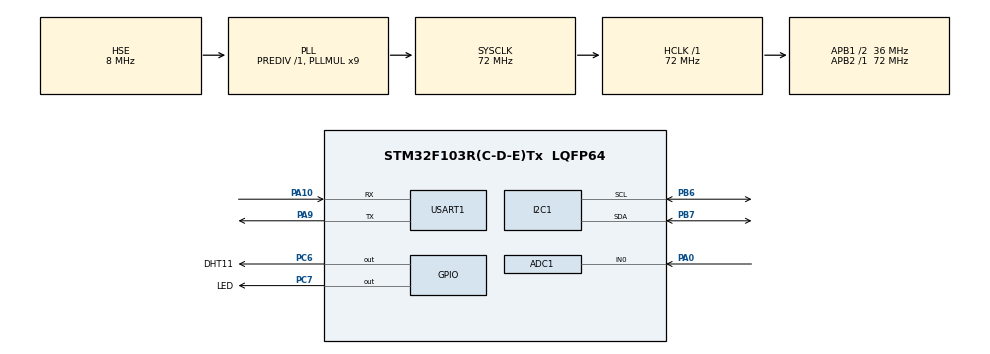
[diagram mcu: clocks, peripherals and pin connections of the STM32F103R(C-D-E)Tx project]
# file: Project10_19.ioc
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ADC1.Channel-0\#ChannelRegularConversion=ADC_CHANNEL_0
ADC1.ContinuousConvMode=ENABLE
ADC1.NbrOfConversion=1
ADC1.NbrOfConversionFlag=1
ADC1.Rank-0\#ChannelRegularConversion=1
ADC1.SamplingTime-0\#ChannelRegularConversion=ADC_SAMPLETIME_1CYCLE_5
ADC1.master=1
Mcu.Family=STM32F1
Mcu.Name=STM32F103R(C-D-E)Tx
Mcu.Package=LQFP64
NVIC.PriorityGroup=NVIC_PRIORITYGROUP_4
NVIC.TIM7_IRQn=true\:0\:0\:false\:false\:true\:true\:true\:true
NVIC.USART1_IRQn=true\:0\:0\:false\:false\:true\:true\:true\:true
PA0-WKUP.Signal=ADCx_IN0
PA10.Mode=Asynchronous
PA10.Signal=USART1_RX
PA13.Mode=Serial_Wire
PA13.Signal=SYS_JTMS-SWDIO
PA14.Mode=Serial_Wire
PA14.Signal=SYS_JTCK-SWCLK
PA9.Mode=Asynchronous
PA9.Signal=USART1_TX
PB6.Mode=I2C
PB6.Signal=I2C1_SCL
PB7.Mode=I2C
PB7.Signal=I2C1_SDA
PC14-OSC32_IN.Mode=LSE-External-Oscillator
PC14-OSC32_IN.Signal=RCC_OSC32_IN
PC15-OSC32_OUT.Mode=LSE-External-Oscillator
PC15-OSC32_OUT.Signal=RCC_OSC32_OUT
PC6.GPIO_Label=DHT11
PC6.GPIO_PuPd=GPIO_PULLUP
PC6.GPIO_Speed=GPIO_SPEED_FREQ_HIGH
PC6.Signal=GPIO_Output
PC7.GPIO_Label=LED
PC7.Signal=GPIO_Output
PD0-OSC_IN.Mode=HSE-External-Oscillator
PD0-OSC_IN.Signal=RCC_OSC_IN
PD1-OSC_OUT.Mode=HSE-External-Oscillator
PD1-OSC_OUT.Signal=RCC_OSC_OUT
ProjectManager.HeapSize=0x200
ProjectManager.StackSize=0x400
ProjectManager.TargetToolchain=CMake
RCC.ADCPresc=RCC_ADCPCLK2_DIV6
RCC.AHBFreq_Value=72000000
RCC.APB1CLKDivider=RCC_HCLK_DIV2
RCC.APB1Freq_Value=36000000
RCC.APB1TimFreq_Value=72000000
RCC.APB2Freq_Value=72000000
RCC.APB2TimFreq_Value=72000000
RCC.HCLKFreq_Value=72000000
RCC.PLLMUL=RCC_PLL_MUL9
RCC.PLLSourceVirtual=RCC_PLLSOURCE_HSE
RCC.SYSCLKFreq_VALUE=72000000
RCC.SYSCLKSource=RCC_SYSCLKSOURCE_PLLCLK
RCC.USBFreq_Value=72000000
SH.ADCx_IN0.0=ADC1_IN0,IN0
TIM7.Period=10000-1
TIM7.Prescaler=1440-1
USART1.VirtualMode=VM_ASYNC
VP_TIM7_VS_ClockSourceINT.Mode=Enable_Timer
board=custom

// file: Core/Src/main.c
/* USER CODE BEGIN Header */
/**
  ******************************************************************************
  * @file           : main.c
  * @brief          : Main program body
  ******************************************************************************
  * @attention
  *
  * Copyright (c) 2024 STMicroelectronics.
  * All rights reserved.
  *
  * This software is licensed under terms that can be found in the LICENSE file
  * in the root directory of this software component.
  * If no LICENSE file comes with this software, it is provided AS-IS.
  *
  ******************************************************************************
  */

/*
 * GPS:
 * PD2 --- TXD ; PC12 --- RXD ; PB3 --- PPS
 *
 *
 *
 */

/* USER CODE END Header */
#include "main.h"
#include "adc.h"
#include "i2c.h"
#include "tim.h"
#include "usart.h"
#include "gpio.h"

/* USER CODE BEGIN Includes */
#include <stdio.h>
#include "DHT11.h"
#include "OLED.h"
/* USER CODE END Includes */

/* USER CODE BEGIN PTD */
float Humi,Temp;
char  DHT11_TX[40];
uint16_t ADC_Value;
/* USER CODE END PTD */

void SystemClock_Config(void);
/* USER CODE BEGIN PFP */
void demo_envdata(void);

/* USER CODE END PFP */

int main(void)
{

  /* MCU Configuration--------------------------------------------------------*/

  /* Reset of all peripherals, Initializes the Flash interface and the Systick. */
  HAL_Init();

  /* Configure the system clock */
  SystemClock_Config();

  /* Initialize all configured peripherals */
  MX_GPIO_Init();
  MX_USART1_UART_Init();
  MX_ADC1_Init();
  MX_I2C1_Init();
  MX_TIM7_Init();
  /* USER CODE BEGIN 2 */
    HAL_ADCEx_Calibration_Start(&hadc1);    //AD校准
    HAL_TIM_Base_Start_IT(&htim7);
    HAL_UART_Receive_IT(&huart1, (uint8_t *)&aRxBuffer, 1);

    OLED_Init();                           //OLED初始
    OLED_Clear();                         //清屏

    OLED_ShowString(12,0,"Envtemp:",16,0);//正相显示6X8字符串
    OLED_ShowString(12,2,"Envwet :",16,0);//正相显示6X8字符串
    OLED_ShowString(12,4,"Tutemp :",16,0);//正相显示6X8字符串
    OLED_ShowString(12,6,"Tuwet  :",16,0);//正相显示6X8字符串
  /* USER CODE END 2 */

  /* Infinite loop */
  while (1)
  {

    /* USER CODE BEGIN 3 */
//    demo_GPS();

      demo_envdata();
  }
  /* USER CODE END 3 */
}

void SystemClock_Config(void)
{
  RCC_OscInitTypeDef RCC_OscInitStruct = {0};
  RCC_ClkInitTypeDef RCC_ClkInitStruct = {0};
  RCC_PeriphCLKInitTypeDef PeriphClkInit = {0};

  /** Initializes the RCC Oscillators according to the specified parameters
  * in the RCC_OscInitTypeDef structure.
  */
  RCC_OscInitStruct.OscillatorType = RCC_OSCILLATORTYPE_HSE;
  RCC_OscInitStruct.HSEState = RCC_HSE_ON;
  RCC_OscInitStruct.HSEPredivValue = RCC_HSE_PREDIV_DIV1;
  RCC_OscInitStruct.HSIState = RCC_HSI_ON;
  RCC_OscInitStruct.PLL.PLLState = RCC_PLL_ON;
  RCC_OscInitStruct.PLL.PLLSource = RCC_PLLSOURCE_HSE;
  RCC_OscInitStruct.PLL.PLLMUL = RCC_PLL_MUL9;
  if (HAL_RCC_OscConfig(&RCC_OscInitStruct) != HAL_OK)
  {
    Error_Handler();
  }

  /** Initializes the CPU, AHB and APB buses clocks
  */
  RCC_ClkInitStruct.ClockType = RCC_CLOCKTYPE_HCLK|RCC_CLOCKTYPE_SYSCLK
                              |RCC_CLOCKTYPE_PCLK1|RCC_CLOCKTYPE_PCLK2;
  RCC_ClkInitStruct.SYSCLKSource = RCC_SYSCLKSOURCE_PLLCLK;
  RCC_ClkInitStruct.AHBCLKDivider = RCC_SYSCLK_DIV1;
  RCC_ClkInitStruct.APB1CLKDivider = RCC_HCLK_DIV2;
  RCC_ClkInitStruct.APB2CLKDivider = RCC_HCLK_DIV1;

  if (HAL_RCC_ClockConfig(&RCC_ClkInitStruct, FLASH_LATENCY_2) != HAL_OK)
  {
    Error_Handler();
  }
  PeriphClkInit.PeriphClockSelection = RCC_PERIPHCLK_ADC;
  PeriphClkInit.AdcClockSelection = RCC_ADCPCLK2_DIV6;
  if (HAL_RCCEx_PeriphCLKConfig(&PeriphClkInit) != HAL_OK)
  {
    Error_Handler();
  }
}

/* USER CODE BEGIN 4 */

//void demo_GPS(void)
//{
//    uint8_t ret;
//
//    /* 初始化ATK-MO1218模块 */
//    ret = atk_mo1218_init(38400);
//    if (ret != 0)
//    {
//        printf("ATK-MO1218 init failed!\r\n");
//        while (1)
//        {
//            HAL_GPIO_TogglePin(LED_GPIO_Port,LED_Pin);
//            HAL_Delay(200);
//        }
//    }
//
//    /* 配置ATK-MO1218模块 */
//    ret  = atk_mo1218_factory_reset(ATK_MO1218_FACTORY_RESET_REBOOT);
//    ret += atk_mo1218_config_output_type(ATK_MO1218_OUTPUT_NMEA, ATK_MO1218_SAVE_SRAM_FLASH);
//    ret += atk_mo1218_config_nmea_msg(1, 1, 1, 1, 1, 1, 0, ATK_MO1218_SAVE_SRAM_FLASH);
//    ret += atk_mo1218_config_position_rate(ATK_MO1218_POSITION_RATE_5HZ, ATK_MO1218_SAVE_SRAM_FLASH);
//    ret += atk_mo1218_config_gnss_for_navigation(ATK_MO1218_GNSS_GPS_BEIDOU, ATK_MO1218_SAVE_SRAM_FLASH);
//    if (ret != 0)
//    {
//        printf("ATK-MO1218 configure failed!\r\n");
//        while (1)
//        {
//            HAL_GPIO_TogglePin(LED_GPIO_Port,LED_Pin);
//            HAL_Delay(200);
//        }
//    }
//
//    while (1)
//    {
//        uint8_t ret;
//        atk_mo1218_time_t utc;
//        atk_mo1218_position_t position;
//        int16_t altitude;
//        uint16_t speed;
//        atk_mo1218_fix_info_t fix_info;
//        atk_mo1218_visible_satellite_info_t gps_satellite_info = {0};
//        atk_mo1218_visible_satellite_info_t beidou_satellite_info = {0};
//        uint8_t satellite_index;
//
//        while (1)
//        {
//            /* 获取并更新ATK-MO1218模块数据 */
//            ret = atk_mo1218_update(&utc, &position, &altitude, &speed, &fix_info, NULL, NULL, 5000);
//            if (ret == ATK_MO1218_EOK)
//            {
//                /* UTC */
//                printf("UTC Time: %04d-%02d-%02d %02d:%02d:%02d.%03d\r\n", utc.year, utc.month, utc.day, utc.hour, utc.minute, utc.second, utc.millisecond);
//
//                /* 经纬度（放大了100000倍数） */
//                printf("Position: %d.%d'%s %d.%d'%s\r\n", position.longitude.degree / 100000, position.longitude.degree % 100000, (position.longitude.indicator == ATK_MO1218_LONGITUDE_EAST) ? "E" : "W", position.latitude.degree / 100000, position.latitude.degree % 100000, (position.latitude.indicator == ATK_MO1218_LATITUDE_NORTH) ? "N" : "S");
//
//                /* 海拔高度（放大了10倍） */
//                printf("Altitude: %d.%dm\r\n", altitude / 10, altitude % 10);
//
//                /* 速度（放大了10倍） */
//                printf("Speed: %d.%dKm/H\r\n", speed / 10, speed % 10);
//
//                /* 定位质量 */
//                printf("Fix quality: %s\r\n", (fix_info.quality == ATK_MO1218_GPS_UNAVAILABLE) ? "Unavailable" : ((fix_info.quality == ATK_MO1218_GPS_VALID_SPS) ? "SPS mode" : "differential GPS mode"));
//
//                /* 用于定位的卫星数量 */
//                printf("Satellites Used: %d\r\n", fix_info.satellite_num);
//
//                /* 定位方式 */
//                printf("Fix type: %s\r\n", (fix_info.type == ATK_MO1218_FIX_NOT_AVAILABLE) ? "Unavailable" : ((fix_info.type == ATK_MO1218_FIX_2D) ? "2D" : "3D"));
//
//                /* 用于定位的卫星编号 */
//                for (satellite_index=0; satellite_index<fix_info.satellite_num; satellite_index++)
//                {
//                    if (satellite_index == 0)
//                    {
//                        printf("Satellite ID:");
//                    }
//                    printf(" %d", fix_info.satellite_id[satellite_index]);
//                    if (satellite_index == fix_info.satellite_num - 1)
//                    {
//                        printf("\r\n");
//                    }
//                }
//
//                /* 位置、水平、垂直精度因子（扩大了10倍） */
//                printf("PDOP: %d.%d\r\n", fix_info.pdop / 10, fix_info.pdop % 10);
//                printf("HDOP: %d.%d\r\n", fix_info.hdop / 10, fix_info.hdop % 10);
//                printf("VDOP: %d.%d\r\n", fix_info.vdop / 10, fix_info.vdop % 10);
//
//                /* 可见的GPS、北斗卫星数量 */
//                atk_mo1218_update(NULL, NULL, NULL, NULL, NULL, &gps_satellite_info, &beidou_satellite_info, 1);
//                printf("Number of GPS visible satellite: %d\r\n", gps_satellite_info.satellite_num);
//                printf("Number of Beidou visible satellite: %d\r\n", beidou_satellite_info.satellite_num);
//
//                printf("\r\n");
//            }
//            else
//            {
//                printf("Error!\r\n");
//            }
//
//            HAL_Delay(1000);
//        }
//    }
//}

void demo_envdata(void)
{
    HAL_Delay(500);

    DHT11_READ_DATA(&Temp,&Humi);
    HAL_ADC_Start(&hadc1);     //启动ADC转换
    HAL_ADC_PollForConversion(&hadc1, 50);   //等待转换完成，50为最大等待时间，单位为ms
    if(HAL_IS_BIT_SET(HAL_ADC_GetState(&hadc1), HAL_ADC_STATE_REG_EOC))
    {
        ADC_Value = HAL_ADC_GetValue(&hadc1);   //获取AD值
    }

    OLED_ShowNum(92,0,(uint8_t)Temp,2,16, 0);//正相显示1位8X16数字“6”
    OLED_ShowNum(92,2,(uint8_t)Humi,2,16, 0);//正相显示1位8X16数字“6”
    OLED_ShowNum(92,4,((uint8_t)Temp - 8),2,16, 0);//正相显示1位8X16数字“6”
    OLED_ShowNum(92,6,(uint8_t)(ADC_Value/512),2,16, 0);//正相显示1位8X16数字“6”

}

void HAL_TIM_PeriodElapsedCallback(TIM_HandleTypeDef *htim)
{
    if (htim == (&htim7))
    {
        HAL_GPIO_TogglePin(LED_GPIO_Port,LED_Pin);
    }
}

/* USER CODE END 4 */

void Error_Handler(void)
{
  __disable_irq();
  while (1)
  {
  }
}
